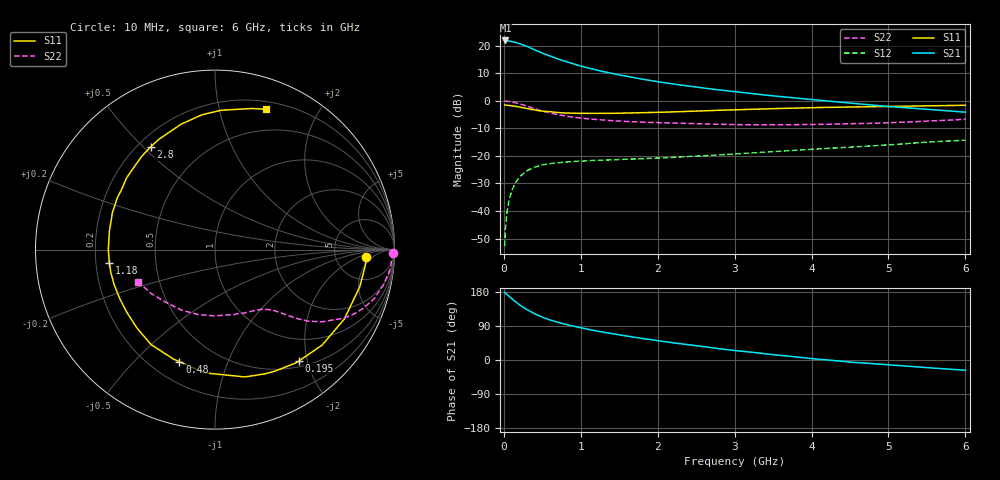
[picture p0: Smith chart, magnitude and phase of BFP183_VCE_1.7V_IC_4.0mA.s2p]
! Infineon Technologies  Discrete & RF Semiconductors
! BFP183
! VCE = 1.7 V,  IC =  4.0 mA
! Common Emitter S-Parameters:  Jan 2016
# GHz  S  MA  R  50
!  f  S11  S21  S12  S22
! GHz  MAG  ANG  MAG  ANG  MAG  ANG  MAG  ANG
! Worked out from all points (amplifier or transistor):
!   210 points, 10 MHz to 6 GHz, reference 50 ohm
!   highest |S21| = 21.9 dB at 20 MHz (marker M1)
!   |S21| within 3 dB of that: start of sweep to 366.9 MHz
!   unconditionally stable (mu >= 1): 1.657 GHz to 5.868 GHz
!   at 185 MHz: K = 0.14, MSG = 24.7 dB, |S12| = -28.4 dB
!   at 1.52 GHz: K = 0.94, MSG = 15.3 dB, |S12| = -21.3 dB
!   at 6 GHz: K = 0.97, MSG = 5.1 dB, |S12| = -14.3 dB
!   S11 on the Smith chart (normalised r, x): 10 MHz: 11, -3; 195 MHz: 0.59, -1.86; 480 MHz: 0.31, -0.68; 1.18 GHz: 0.26, -0.06; 2.8 GHz: 0.25, +0.53; 6 GHz: 0.27, +1.39
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0.01  0.8431 -2.7  12.42 178.4  0.0023 86.8  0.9944 -1.1
0.02  0.8421 -6.0  12.51 176.9  0.0046 87.9  0.986 -2.4
0.05  0.8328 -14.4  12.37 171.0  0.0116 83.6  0.9841 -5.9
0.1  0.8176 -28.3  11.96 162.3  0.0223 74.6  0.96 -11.7
0.15  0.7995 -41.7  11.59 153.7  0.0323 68.3  0.9283 -17.1
0.195  0.777 -52.9  11.07 146.8  0.0399 62.9  0.892 -21.1
0.24  0.7556 -63.4  10.46 140.3  0.0461 58.0  0.854 -24.8
0.3  0.729 -76.7  9.758 132.8  0.0538 52.7  0.7976 -28.9
0.4  0.6892 -94.9  8.461 121.7  0.0626 44.7  0.7195 -34.0
0.48  0.6554 -107.6  7.561 114.9  0.0676 40.1  0.6678 -36.7
0.6  0.6378 -123.9  6.549 105.6  0.0726 35.2  0.6028 -39.8
0.7  0.6165 -134.9  5.775 99.5  0.0752 32.4  0.5608 -41.5
0.8  0.6028 -144.6  5.22 93.9  0.0773 29.8  0.5301 -42.9
1.02  0.5942 -162.3  4.211 83.9  0.0806 26.7  0.4837 -45.2
1.18  0.5927 -173.0  3.701 77.6  0.0829 25.2  0.4614 -47.0
1.5  0.5977 169.7  2.962 66.1  0.0857 24.7  0.4289 -50.7
2.02  0.6191 147.2  2.204 50.5  0.092 25.1  0.4022 -58.3
2.8  0.6756 122.1  1.579 29.7  0.1043 26.8  0.3776 -73.5
3.1  0.6943 114.4  1.419 23.1  0.1104 27.2  0.3694 -80.6
4.1  0.7578 93.9  1.026 2.1  0.1345 26.2  0.3742 -107.1
5.1  0.7953 79.7  0.772 -14.2  0.1622 23.5  0.4042 -134.7
6  0.8319 70.0  0.624 -27.1  0.1934 17.0  0.4637 -157.0
